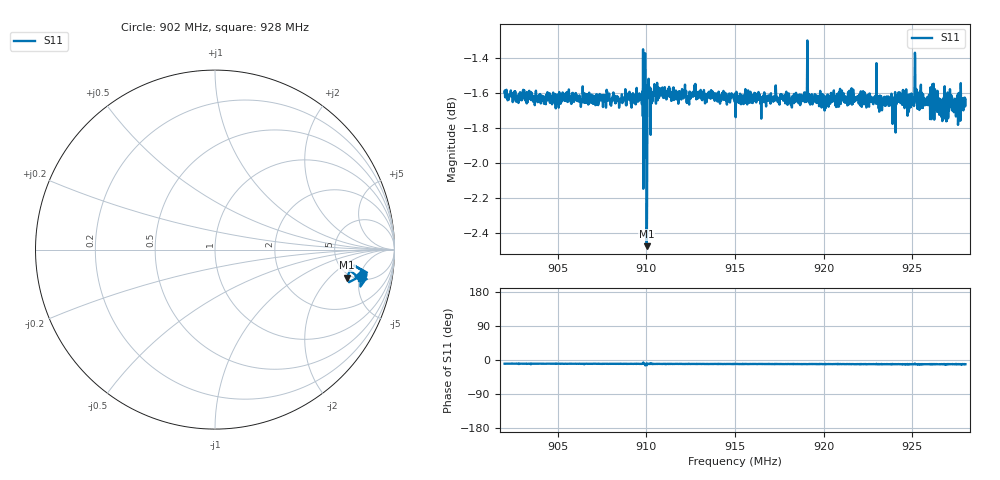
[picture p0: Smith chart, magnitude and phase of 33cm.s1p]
! Calibrated averaged scanner-service zoom
# Hz S RI R 50
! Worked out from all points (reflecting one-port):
!   2001 points, 902 MHz to 928 MHz, reference 50 ohm
!   lowest |S11| = -2.5 dB at 910.02 MHz (marker M1), VSWR 7.06, Z = 230 - j166 ohm
!   phase of S11 starts at -10 deg and turns -1 deg over the sweep
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9.02e8  0.82 -0.1417
9.0525e8  0.8184 -0.1415
9.085e8  0.8145 -0.146
9.09631e8  0.8149 -0.1498
9.09722e8  0.8151 -0.1497
9.09839e8  0.8232 -0.1186
9.09917e8  0.8201 -0.1527
9.10021e8  0.7353 -0.1569
9.10073e8  0.82 -0.1436
9.10112e8  0.8245 -0.1491
9.1019e8  0.8184 -0.154
9.10476e8  0.8172 -0.1475
9.1175e8  0.8189 -0.148
9.15e8  0.8176 -0.1523
9.1825e8  0.8156 -0.1554
9.18926e8  0.8145 -0.1537
9.19043e8  0.8143 -0.1561
9.19277e8  0.8131 -0.1523
9.20083e8  0.813 -0.156
9.215e8  0.8171 -0.1559
9.2475e8  0.8154 -0.1558
9.24984e8  0.81 -0.1579
9.25153e8  0.8431 -0.1378
9.25309e8  0.8106 -0.1558
9.26986e8  0.8152 -0.1546
9.27116e8  0.8121 -0.1558
9.27597e8  0.8047 -0.1525
9.28e8  0.8124 -0.1606
